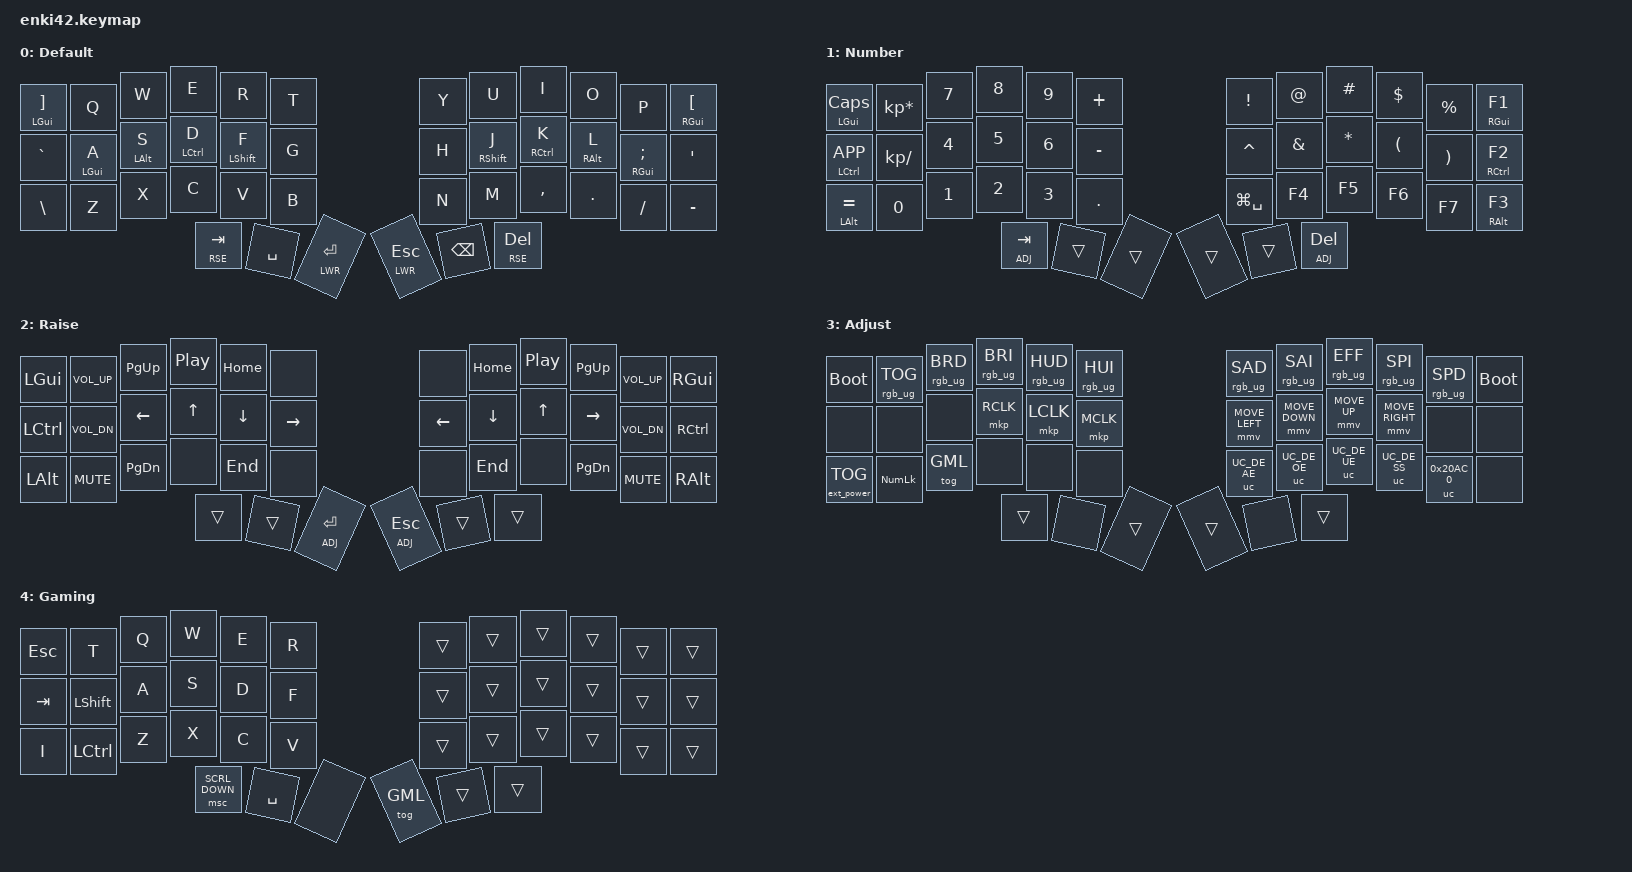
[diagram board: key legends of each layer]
/*
 * Copyright (c) 2020 The ZMK Contributors
 *
 * SPDX-License-Identifier: MIT
 */

#include <behaviors.dtsi>
#include <dt-bindings/zmk/keys.h>
#include <dt-bindings/zmk/bt.h>

#include <dt-bindings/zmk/ext_power.h>
#include <dt-bindings/led/led.h>
#include <dt-bindings/zmk/rgb.h>
#include <dt-bindings/zmk/pointing.h>

#include <behaviors/unicode.dtsi>
#include <zmk-unicode/keys-extra.h>

#define DEF 0
#define LWR 1
#define RSE 2
#define ADJ 3
#define GML 4

&lt { quick_tap_ms = <220>; };
&mt { quick_tap_ms = <220>; };

/ {
    behaviors {
		hml: homerow_mods_left {
			compatible = "zmk,behavior-hold-tap";
			label = "HOMEROW_MODS_LEFT";
			#binding-cells = <2>;
			flavor = "balanced";
			tapping-term-ms = <280>;
			quick-tap-ms = <175>;
			require-prior-idle-ms = <150>;
			bindings = <&kp>, <&kp>;
			hold-trigger-key-positions = <6 7 8 9 10 11 18 19 20 21 22 23 30 31 32 33 34 35 39 40 41>;
		};

		hmr: homerow_mods_right {
			compatible = "zmk,behavior-hold-tap";
			label = "HOMEROW_MODS_RIGHT";
			#binding-cells = <2>;
			flavor = "balanced";
			tapping-term-ms = <280>;
			quick-tap-ms = <175>;
			require-prior-idle-ms = <150>;
			bindings = <&kp>, <&kp>;
			hold-trigger-key-positions = <0 1 2 3 4 5 12 13 14 15 16 17 24 25 26 27 28 29 36 37 38>;
		};
	};

};

&uc {
  default-mode = <UC_MODE_LINUX>;  // Default to Linux input system
  minimum-length = <0>;            // Set to desired minimum input length
  linux-key = <LC(LS(U))>;         // Overwrite Linux compose key
  win-compose-key = <RALT>;        // Overwrite WinCompose compose key
};

/ {
        keymap {
                compatible = "zmk,keymap";

                default_layer {
                        display-name = "Default";
// ------------------------------------------------------------------------------------------------
//| LGUI/] |  Q  |  W  |  E  |  R  |  T  |   |  Y  |  U   |  I  |  O  |  P  | RGUI/[ | 
//| CTRL/` |  A  |  S  |  D  |  F  |  G  |   |  H  |  J   |  K  |  L  |  ;  | CTRL/' |
//| LALT/\ |  Z  |  X  |  C  |  V  |  B  |   |  N  |  M   |  ,  |  .  |  /  | RALT/- |
//                             | RSE | SPC | LWR |   | LWR | BKSP | RSE |
                        bindings = <
  &mt LGUI RBKT   &kp Q &kp W &kp E &kp R &kp T               &kp Y  &kp U  &kp I     &kp O   &kp P    &mt RGUI LBKT 
  &kp GRAVE &hml LGUI A &hml LALT S &hml LCTRL D &hml LSHFT F &kp G  &kp H &hmr RSHFT J  &hmr RCTRL K &hmr RALT L &hmr RGUI SEMI &kp SQT
  &kp BSLH  &kp Z &kp X &kp C &kp V &kp B               &kp N  &kp M  &kp COMMA &kp DOT &kp FSLH &kp MINUS
        &lt RSE TAB &kp SPACE &lt LWR RET              &lt LWR ESC &kp BSPC &lt RSE DEL
                        >;
                };

                lower_layer {
                        display-name = "Number";
// -----------------------------------------------------------------------------------------
//|LGUI/CAPS |  *  |  7 |  8  |  9  |  +  |    |  !  |  @  |  #  |  $  |  %  | RGUI/F1 |
//|CTRL/MENU |  /  |  4 |  5  |  6  |  -  |    |  ^  |  &  |  *  |  (  |  )  | CTRL/F2 |
//|  LALT/=  |  0  |  1 |  4  |  3  |  .  |    |  ls |  F4 |  F5 |  F6 |  F7 | RALT/F3 |
//                      | ADJ | ___ | ___ |    | ___ | ___ | ADJ |
                        bindings = <
 &mt LGUI CAPS   &kp KP_MULTIPLY  &kp N7 &kp N8   &kp N9      &kp PLUS                    &kp EXCL      &kp AT    &kp HASH   &kp DLLR  &kp PRCNT &mt RGUI F1  
 &mt LCTRL K_APP &kp KP_SLASH     &kp N4 &kp N5   &kp N6      &kp MINUS                   &kp CARET     &kp AMPS  &kp STAR   &kp LPAR  &kp RPAR  &mt RCTRL F2
 &mt LALT EQUAL  &kp N0           &kp N1 &kp N2   &kp N3      &kp DOT                     &kp LG(SPACE) &kp F4    &kp F5     &kp F6    &kp F7    &mt RALT F3
                                                  &lt ADJ TAB &trans &trans        &trans &trans        &lt ADJ DEL
                        >;
                };

                raise_layer {
                        display-name = "Raise";
// -----------------------------------------------------------------------------------------
//| LGUI |  VOLU  |  PGUP  | PLAY | HOME | ___  |            | ___  | HOME | PLAY| PGUP | VOLU | RGUI |
//| CTRL |  VOLD  |  LEFT  |  UP  | DOWN | RGHT |            | LEFT | DOWN | UP  | RGHT | VOLD | CTRL | 
//| LALT |  MUTE  |  PGDN  |  ___ | END  | ___  |            | ___  | END  | ___ | PGDN | MUTE | RALT |
//                          | ___ | ___  | ADJ  |            | ADJ  | ___  | ___ |
                        bindings = <
&kp LGUI &kp C_VOL_UP &kp PG_UP &kp C_PP &kp HOME &none      
&none &kp HOME &kp C_PP &kp PG_UP &kp C_VOL_UP &kp RGUI

&kp LCTRL &kp C_VOL_DN &kp LEFT &kp UP &kp DOWN &kp RIGHT
&kp LEFT &kp DOWN &kp UP &kp RIGHT  &kp C_VOL_DN  &kp RCTRL 

&kp LALT &kp C_MUTE &kp PG_DN &none &kp END &none
&none &kp END &none &kp PG_DN &kp C_MUTE &kp RALT

&trans &trans &lt ADJ RET
&lt ADJ ESC &trans &trans
                        >; 
                };

                adjust_layer {
                        display-name = "Adjust";
// -----------------------------------------------------------------------------------------
//| BLDR | RGB | RGB | RGB | RGB | RGB |   | RGB | RGB | RGB | RGB | RGB | BLDR |
//| BTCLR| BT0 | BT1 | BT2 | BT3 | BT4 |   | BT4 | BT3 | BT2 | BT1 | BT0 | BTCLR|
//|pwrOFF|NUMLK|     |     |     |     |   |     |     |     |     |     |      |
//                   |     |     |     |   |     |     |     |
                        bindings = <
&bootloader &rgb_ug RGB_TOG &rgb_ug RGB_BRD &rgb_ug RGB_BRI &rgb_ug RGB_HUD &rgb_ug RGB_HUI &rgb_ug RGB_SAD &rgb_ug RGB_SAI &rgb_ug RGB_EFF &rgb_ug RGB_SPI &rgb_ug RGB_SPD &bootloader
&none &none &none &mkp RCLK &mkp LCLK &mkp MCLK      &mmv MOVE_LEFT &mmv MOVE_DOWN &mmv MOVE_UP &mmv MOVE_RIGHT &none &none
&ext_power EP_TOG &kp KP_NUM &tog GML &none &none &none    &uc UC_DE_AE &uc UC_DE_OE &uc UC_DE_UE &uc UC_DE_SS &uc 0x20AC 0 &none
                                                              &trans &none &trans           &trans &none &trans
                        >;
                };

                gaming_layer {
                        display-name = "Gaming";
// -----------------------------------------------------------------------------------------
//| BLDR | RGB | RGB | RGB | RGB | RGB |   | RGB | RGB | RGB | RGB | RGB | BLDR |
//| BTCLR| BT0 | BT1 | BT2 | BT3 | BT4 |   | BT4 | BT3 | BT2 | BT1 | BT0 | BTCLR|
//|pwrOFF|NUMLK|     |     |     |     |   |     |     |     |     |     |      |
//                   |     |     |     |   |     |     |     |
                           bindings = <
&kp ESCAPE  &kp T           &kp Q  &kp W           &kp E  &kp R        &trans  &trans  &trans  &trans  &trans  &trans
&kp TAB     &kp LEFT_SHIFT  &kp A  &kp S           &kp D  &kp F        &trans  &trans  &trans  &trans  &trans  &trans
&kp I       &kp LCTRL       &kp Z  &kp X           &kp C  &kp V        &trans  &trans  &trans  &trans  &trans  &trans
                                   &msc SCRL_DOWN  &kp SPACE &none     &tog GML  &trans  &trans
            >; 
                };
        };
};
